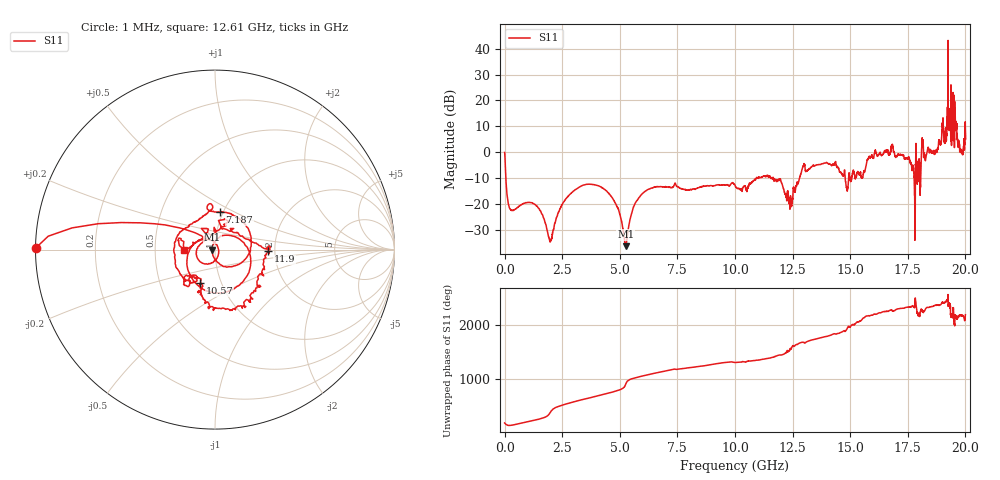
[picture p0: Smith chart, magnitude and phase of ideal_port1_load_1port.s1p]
! Created with skrf 1.8.0 (http://scikit-rf.org).
# GHz S RI R 50.0
!freq ReS11 ImS11
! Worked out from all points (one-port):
!   10001 points, 1 MHz to 20 GHz, reference 50 ohm
!   lowest |S11| = -36.1 dB at 5.257 GHz (marker M1), VSWR 1.03, Z = 48.5 - j0.00364 ohm
!   |S11| at or under -10 dB: 56.02 MHz to 10.92 GHz (10.86 GHz wide, 198 % of centre); 11.67 GHz to 12.8 GHz (1.131 GHz wide, 9.24 % of centre); 14.78 GHz to 14.93 GHz (148.7 MHz wide, 1 % of centre) (the widest 3 of 16)
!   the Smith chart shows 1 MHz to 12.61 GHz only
!   S11 on the Smith chart (normalised r, x): 1 MHz: 0.00, +0.00; 7.187 GHz: 0.97, +0.42; 10.57 GHz: 0.79, -0.31; 11.9 GHz: 1.83, -0.04; 12.61 GHz: 0.69, -0.01
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0.001  -0.9982 0.00933
1.968902  0.0189 0.00201
2.500875  -0.0858 0.0493
5.00075  0.0163 0.0624
5.256737  -0.0156 -3.76e-05
7.186641  0.0279 0.2089
7.500625  -0.0308 0.217
10.0005  -0.1752 -0.1587
10.56647  -0.0835 -0.1862
11.89841  0.2945 -0.00891
12.50038  -0.1224 0.0388
12.61437  -0.1817 -0.00675
14.0283  0.6109 -0.0809
15.00025  -0.3067 0.0795
15.88821  0.7739 0.2577
16.83216  -0.3605 1.385
17.50013  -0.7438 0.1255
18.19609  -0.1594 0.8721
18.87606  -1.392 -0.6047
19.04605  -0.8603 -2.202
19.14604  -0.2375 -2.261
19.15004  -0.2451 -1.804
19.22204  1.53 -5.472
19.34803  -3.941 -1.422
19.35003  -7.088 0.6507
19.39803  1.335 0.257
19.60002  3.38 -0.9664
20  1.564 0.8435
